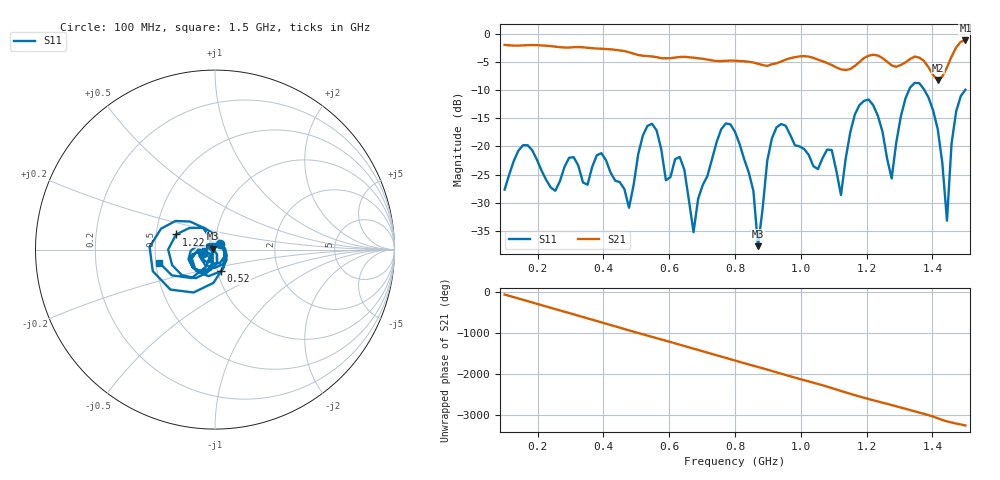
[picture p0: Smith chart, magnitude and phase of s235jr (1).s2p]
! NanoVNA-App
! Date: 2025-09-25 17:45:06
! Start: 100MHz Stop: 1,5GHz Points: 101
! S-Parameter data: F S11 S21 S12 S22
# Hz S RI R 50
!  Frequency  S11_Real  S11_Imag  S21_Real  S21_Imag  S12_Real  S12_Imag  S22_Real  S22_Imag
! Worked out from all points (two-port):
!   101 points, 100 MHz to 1.5 GHz, reference 50 ohm
!   highest |S21| = -1.17 dB at 1.5 GHz (marker M1); lowest = -8.2 dB at 1.416 GHz (marker M2)
!   |S21| within 3 dB of the highest: start of sweep to 564.7 MHz; 980.1 MHz to 1.032 GHz (51.95 MHz wide, 5.16 % of centre)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
!   lowest |S11| = -37.7 dB at 870 MHz (marker M3), VSWR 1.03, Z = 48.8 + j0.433 ohm
!   |S11| at or under -10 dB: start of sweep to 1.329 GHz; 1.376 GHz to 1.499 GHz (123.5 MHz wide, 8.59 % of centre)
!   S12 and S22 are empty: the file has one direction only
!   S11 on the Smith chart (normalised r, x): 100 MHz: 1.06, +0.06; 520 MHz: 1.04, -0.25; 1.22 GHz: 0.64, +0.11; 1.5 GHz: 0.52, -0.08
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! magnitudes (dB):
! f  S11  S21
! 100 MHz  -27.7  -2.0
! 156 MHz  -19.8  -2.0
! 338 MHz  -26.4  -2.4
! 394 MHz  -21.2  -2.6
! 478 MHz  -30.9  -3.3
! 520 MHz  -18.1  -3.9
! 576 MHz  -20.5  -4.3
! 632 MHz  -21.9  -4.1
! 674 MHz  -35.2  -4.2
! 800 MHz  -17.4  -4.8
! 870 MHz  -37.7  -5.3
! 926 MHz  -16.6  -5.2
! 1.038 GHz  -23.5  -4.3
! 1.122 GHz  -28.6  -6.3
! 1.164 GHz  -14.3  -5.7
! 1.22 GHz  -12.7  -3.7
! 1.276 GHz  -25.7  -5.6
! 1.332 GHz  -9.5  -4.5
! 1.416 GHz  -16.9  -8.2
! 1.444 GHz  -33.2  -6.0
! 1.458 GHz  -19.4  -4.0
! 1.5 GHz  -9.9  -1.2
